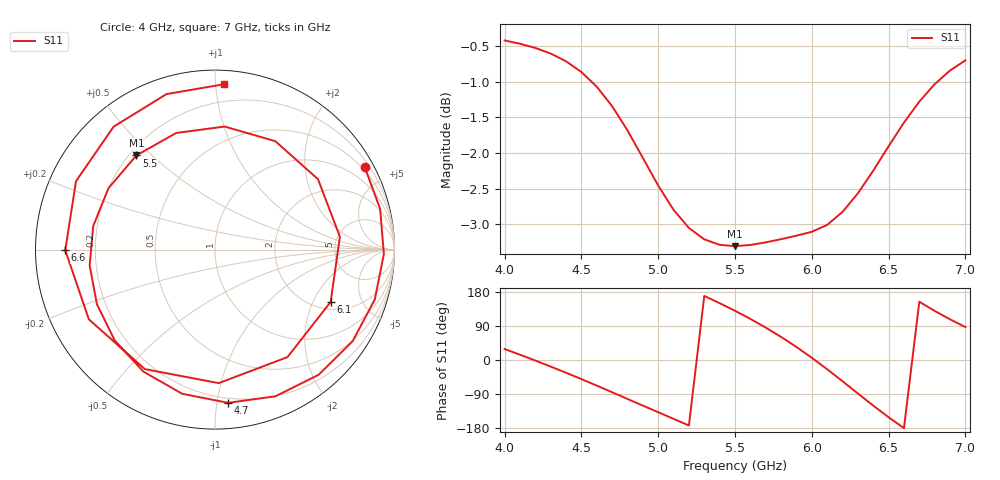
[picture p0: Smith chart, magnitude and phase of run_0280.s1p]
! Touchstone file exported from HFSS 2024.2.0
!  File:  C:/Users/wsak9/Desktop/Sim Fast/Widenad Patch/WP_AI_V1_sweep.aedt
!  Generated:  02:48:50 AM Oct 14, 2026
!  Design:  A1_model
!  Project:  WP_AI_V1_sweep
!  Setup:  Setup1
!  Solution:  Sweep
! Variables:
!  Air_gap = 4.32mm
!  Curve_Amp1 = 0.81
!  Curve_len1 = 1
!  Curve_pos = 10.295mm
!  Extra = 5.27mm
!  H_sub = 0.79mm
!  L_Patch = 16.59mm
!  L_Patch1 = 16.62mm
!  Sx = 0.39mm
!  Sy = 3.23mm
!  WS = 1.31mm
!  W_Patch = 10.56mm
!  W_Patch1 = 11.35mm
!Data is not renormalized
# GHz S MA
! Terminal data exported
! Port[1] = 1
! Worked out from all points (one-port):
!   31 points, 4 GHz to 7 GHz, reference per port
!   lowest |S11| = -3.3 dB at 5.5 GHz (marker M1), VSWR 5.32
!   |S11| at or under -10 dB: nowhere
!   S11 on the Smith chart (normalised r, x): 4 GHz: 0.39, +3.84; 4.7 GHz: 0.17, -1.08; 5.5 GHz: 0.23, +0.45; 6.1 GHz: 2.36, -2.76; 6.6 GHz: 0.09, -0.00; 7 GHz: 0.09, +1.05
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4  0.9526 28.9
4.2  0.9412 -1.5
4.3  0.9327 -17.3
4.4  0.9212 -33.6
4.5  0.9053 -50.4
4.6  0.8841 -67.6
4.7  0.8567 -85.1
4.8  0.8239 -102.8
5  0.7537 -137.9
5.2  0.7038 -172.8
5.3  0.6911 169.0
5.4  0.685 150.0
5.5  0.6835 129.9
5.6  0.6848 108.5
5.7  0.6877 85.5
5.8  0.6912 60.9
5.9  0.6951 34.4
6  0.6995 5.9
6.1  0.7073 -24.3
6.2  0.7224 -56.0
6.3  0.7443 -88.4
6.4  0.772 -120.4
6.5  0.803 -151.1
6.6  0.8343 -179.8
6.7  0.8631 153.8
6.8  0.8877 129.5
6.9  0.9075 107.3
7  0.9225 86.9
